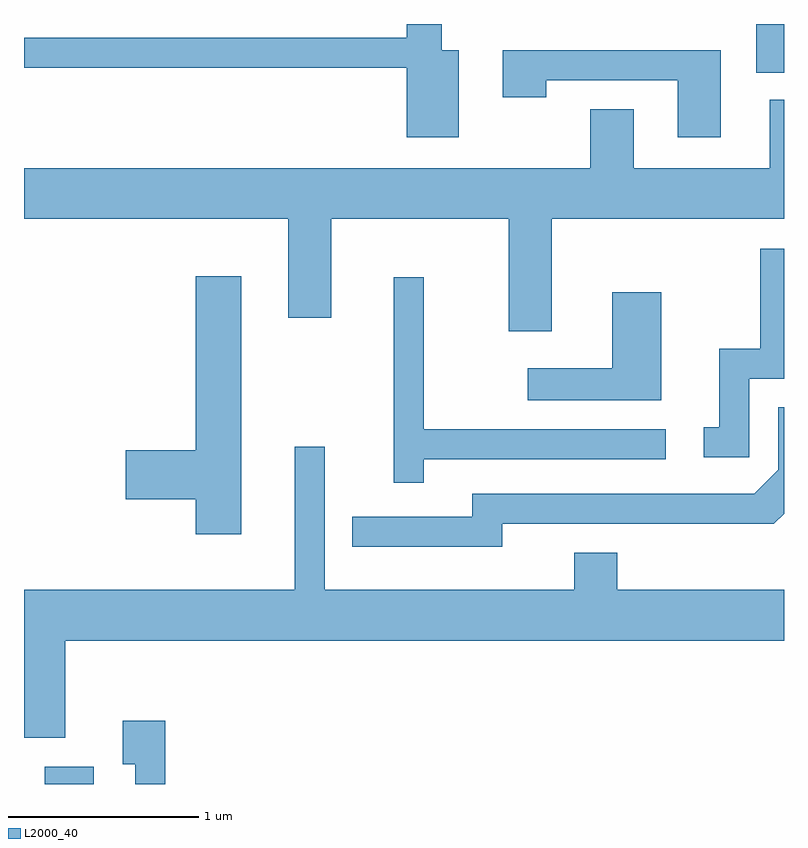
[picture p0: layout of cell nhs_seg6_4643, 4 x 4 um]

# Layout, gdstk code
import gdstk
lib = gdstk.Library(unit=1e-6, precision=1e-09)
def R(c, l, rs):  # rectangles x0, y0, x1, y1
    for r in rs: c.add(gdstk.rectangle(r[:2], r[2:], *l))
def P(c, l, *ps):  # polygons
    for p in ps: c.add(gdstk.Polygon(p, *l))
L2000_40 = (2000, 40)

nhs_seg6_4643 = lib.new_cell('nhs_seg6_4643')
R(nhs_seg6_4643, L2000_40, [(327.721,1558.162,327.979,1558.254), (331.466,1561.906,331.611,1562.162)])
P(nhs_seg6_4643, L2000_40, [(329.899,1562.024),(329.809,1562.024),(329.809,1562.162),(329.626,1562.162),(329.626,1562.089),(327.611,1562.089),(327.611,1561.931),(329.626,1561.931),(329.626,1561.566),(329.899,1561.566)],
  [(331.279,1562.024),(330.131,1562.024),(330.131,1561.776),(330.359,1561.776),(330.359,1561.866),(331.051,1561.866),(331.051,1561.566),(331.279,1561.566)],
  [(330.389,1561.136),(331.611,1561.136),(331.611,1561.763),(331.536,1561.763),(331.536,1561.404),(330.819,1561.404),(330.819,1561.714),(330.591,1561.714),(330.591,1561.404),(327.611,1561.404),(327.611,1561.136),(329.001,1561.136),(329.001,1560.616),(329.229,1560.616),(329.229,1561.136),(330.161,1561.136),(330.161,1560.546),(330.389,1560.546)],
  [(331.429,1560.296),(331.611,1560.296),(331.611,1560.979),(331.486,1560.979),(331.486,1560.454),(331.271,1560.454),(331.271,1560.039),(331.188,1560.039),(331.188,1559.881),(331.429,1559.881)],
  [(328.754,1560.834),(328.516,1560.834),(328.516,1559.919),(328.146,1559.919),(328.146,1559.661),(328.516,1559.661),(328.516,1559.476),(328.754,1559.476)],
  [(329.714,1559.871),(330.988,1559.871),(330.988,1560.029),(329.714,1560.029),(329.714,1560.828),(329.556,1560.828),(329.556,1559.748),(329.714,1559.748)],
  [(330.964,1560.749),(330.706,1560.749),(330.706,1560.349),(330.263,1560.349),(330.263,1560.181),(330.964,1560.181)],
  [(330.129,1559.531),(331.557,1559.531),(331.611,1559.585),(331.611,1560.144),(331.581,1560.144),(331.581,1559.817),(331.454,1559.689),(329.971,1559.689),(329.971,1559.569),(329.338,1559.569),(329.338,1559.411),(330.129,1559.411)],
  [(327.829,1558.916),(331.611,1558.916),(331.611,1559.184),(330.734,1559.184),(330.734,1559.379),(330.506,1559.379),(330.506,1559.184),(329.194,1559.184),(329.194,1559.938),(329.036,1559.938),(329.036,1559.184),(327.611,1559.184),(327.611,1558.406),(327.829,1558.406)],
  [(328.354,1558.494),(328.131,1558.494),(328.131,1558.266),(328.196,1558.266),(328.196,1558.162),(328.354,1558.162)])

lib.write_gds('nhs_seg6_4643.gds')
